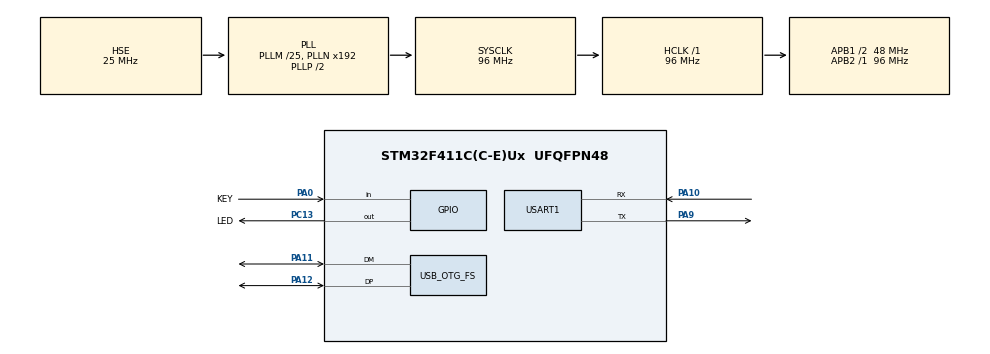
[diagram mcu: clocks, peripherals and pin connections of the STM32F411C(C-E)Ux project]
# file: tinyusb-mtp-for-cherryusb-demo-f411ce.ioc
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Mcu.Family=STM32F4
Mcu.Name=STM32F411C(C-E)Ux
Mcu.Package=UFQFPN48
NVIC.OTG_FS_IRQn=true\:0\:0\:false\:false\:false\:true\:true\:true
NVIC.PriorityGroup=NVIC_PRIORITYGROUP_4
PA0-WKUP.GPIO_Label=KEY
PA0-WKUP.GPIO_PuPd=GPIO_PULLUP
PA0-WKUP.Signal=GPIO_Input
PA10.Mode=Asynchronous
PA10.Signal=USART1_RX
PA11.Mode=Device_Only
PA11.Signal=USB_OTG_FS_DM
PA12.Mode=Device_Only
PA12.Signal=USB_OTG_FS_DP
PA9.Mode=Asynchronous
PA9.Signal=USART1_TX
PC13-ANTI_TAMP.GPIO_Label=LED
PC13-ANTI_TAMP.Signal=GPIO_Output
PH0\ -\ OSC_IN.Mode=HSE-External-Oscillator
PH0\ -\ OSC_IN.Signal=RCC_OSC_IN
PH1\ -\ OSC_OUT.Mode=HSE-External-Oscillator
PH1\ -\ OSC_OUT.Signal=RCC_OSC_OUT
ProjectManager.HeapSize=0x200
ProjectManager.StackSize=0x400
ProjectManager.TargetToolchain=MDK-ARM V5.32
RCC.48MHZClocksFreq_Value=48000000
RCC.AHBFreq_Value=96000000
RCC.APB1CLKDivider=RCC_HCLK_DIV2
RCC.APB1Freq_Value=48000000
RCC.APB1TimFreq_Value=96000000
RCC.APB2Freq_Value=96000000
RCC.APB2TimFreq_Value=96000000
RCC.CortexFreq_Value=96000000
RCC.HCLKFreq_Value=96000000
RCC.HSE_VALUE=25000000
RCC.HSI_VALUE=16000000
RCC.LSE_VALUE=32768
RCC.PLLM=25
RCC.SYSCLKFreq_VALUE=96000000
RCC.SYSCLKSource=RCC_SYSCLKSOURCE_PLLCLK
RCC.VCOOutputFreq_Value=192000000
USART1.VirtualMode=VM_ASYNC
USB_OTG_FS.VirtualMode=Device_Only
board=custom

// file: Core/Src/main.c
/* USER CODE BEGIN Header */
/**
  ******************************************************************************
  * @file           : main.c
  * @brief          : Main program body
  ******************************************************************************
  * @attention
  *
  * Copyright (c) 2026 STMicroelectronics.
  * All rights reserved.
  *
  * This software is licensed under terms that can be found in the LICENSE file
  * in the root directory of this software component.
  * If no LICENSE file comes with this software, it is provided AS-IS.
  *
  ******************************************************************************
  */
/* USER CODE END Header */
#include "main.h"

/* USER CODE BEGIN Includes */
#include "usbd_user.h"

/* USER CODE END Includes */

UART_HandleTypeDef huart1;

PCD_HandleTypeDef hpcd_USB_OTG_FS;

void SystemClock_Config(void);
static void MX_GPIO_Init(void);
static void MX_USB_OTG_FS_PCD_Init(void);
static void MX_USART1_UART_Init(void);

/* USER CODE BEGIN 0 */

// 重定向print start
#if defined (__ARMCC_VERSION) /* ARM Compiler */
int fputc(int ch, FILE *f)
{
  HAL_UART_Transmit(&huart1,(uint8_t*)&ch,1,HAL_MAX_DELAY);
  return ch;
}
#elif defined ( __GNUC__ ) && !defined (__CC_ARM) /* GNU Compiler */
//_write函數在syscalls.c中， 使用__weak定义以可以直接在其他文件中定义_write函數
__attribute__((weak)) int _write(int file, char *ptr, int len)
{
  UNUSED(file);
  int i;
  for (i = 0; i < len; i++)
  {
    HAL_UART_Transmit(&huart1, (uint8_t *)&ptr[i], 1, HAL_MAX_DELAY);
  }
  return len;
}
#endif
// 重定向print end
/* USER CODE END 0 */

int main(void)
{

  /* MCU Configuration--------------------------------------------------------*/

  /* Reset of all peripherals, Initializes the Flash interface and the Systick. */
  HAL_Init();

  /* Configure the system clock */
  SystemClock_Config();

  /* Initialize all configured peripherals */
  MX_GPIO_Init();
  MX_USB_OTG_FS_PCD_Init();
  MX_USART1_UART_Init();
  /* USER CODE BEGIN 2 */
  void usbd_mtp_init(void);
  usbd_mtp_init();
  int usbd_mtp_format_store(void);
  if (HAL_GPIO_ReadPin(KEY_GPIO_Port, KEY_Pin) == GPIO_PIN_RESET)
  {
    usbd_mtp_format_store();
  }

  usb_init(0, (uintptr_t)USB_OTG_FS);
  /* USER CODE END 2 */

  /* Infinite loop */
  /* USER CODE BEGIN WHILE */
  while (1)
  {
    bool state = HAL_GPIO_ReadPin(KEY_GPIO_Port, KEY_Pin) == GPIO_PIN_RESET;
    uint8_t buffer[8] = {0};
    buffer[2] = state ? 0x04 : 0;
    usb_send_keyboard(buffer, sizeof(buffer));
    extern void usbd_mtp_task(void);
    usbd_mtp_task();
    /* USER CODE END WHILE */

  }
}

void SystemClock_Config(void)
{
  RCC_OscInitTypeDef RCC_OscInitStruct = {0};
  RCC_ClkInitTypeDef RCC_ClkInitStruct = {0};

  /** Configure the main internal regulator output voltage
  */
  __HAL_RCC_PWR_CLK_ENABLE();
  __HAL_PWR_VOLTAGESCALING_CONFIG(PWR_REGULATOR_VOLTAGE_SCALE1);

  /** Initializes the RCC Oscillators according to the specified parameters
  * in the RCC_OscInitTypeDef structure.
  */
  RCC_OscInitStruct.OscillatorType = RCC_OSCILLATORTYPE_HSE;
  RCC_OscInitStruct.HSEState = RCC_HSE_ON;
  RCC_OscInitStruct.PLL.PLLState = RCC_PLL_ON;
  RCC_OscInitStruct.PLL.PLLSource = RCC_PLLSOURCE_HSE;
  RCC_OscInitStruct.PLL.PLLM = 25;
  RCC_OscInitStruct.PLL.PLLN = 192;
  RCC_OscInitStruct.PLL.PLLP = RCC_PLLP_DIV2;
  RCC_OscInitStruct.PLL.PLLQ = 4;
  if (HAL_RCC_OscConfig(&RCC_OscInitStruct) != HAL_OK)
  {
    Error_Handler();
  }

  /** Initializes the CPU, AHB and APB buses clocks
  */
  RCC_ClkInitStruct.ClockType = RCC_CLOCKTYPE_HCLK|RCC_CLOCKTYPE_SYSCLK
                              |RCC_CLOCKTYPE_PCLK1|RCC_CLOCKTYPE_PCLK2;
  RCC_ClkInitStruct.SYSCLKSource = RCC_SYSCLKSOURCE_PLLCLK;
  RCC_ClkInitStruct.AHBCLKDivider = RCC_SYSCLK_DIV1;
  RCC_ClkInitStruct.APB1CLKDivider = RCC_HCLK_DIV2;
  RCC_ClkInitStruct.APB2CLKDivider = RCC_HCLK_DIV1;

  if (HAL_RCC_ClockConfig(&RCC_ClkInitStruct, FLASH_LATENCY_3) != HAL_OK)
  {
    Error_Handler();
  }
}

static void MX_USART1_UART_Init(void)
{

  huart1.Instance = USART1;
  huart1.Init.BaudRate = 115200;
  huart1.Init.WordLength = UART_WORDLENGTH_8B;
  huart1.Init.StopBits = UART_STOPBITS_1;
  huart1.Init.Parity = UART_PARITY_NONE;
  huart1.Init.Mode = UART_MODE_TX_RX;
  huart1.Init.HwFlowCtl = UART_HWCONTROL_NONE;
  huart1.Init.OverSampling = UART_OVERSAMPLING_16;
  if (HAL_UART_Init(&huart1) != HAL_OK)
  {
    Error_Handler();
  }

}

static void MX_USB_OTG_FS_PCD_Init(void)
{

  hpcd_USB_OTG_FS.Instance = USB_OTG_FS;
  hpcd_USB_OTG_FS.Init.dev_endpoints = 4;
  hpcd_USB_OTG_FS.Init.speed = PCD_SPEED_FULL;
  hpcd_USB_OTG_FS.Init.dma_enable = DISABLE;
  hpcd_USB_OTG_FS.Init.phy_itface = PCD_PHY_EMBEDDED;
  hpcd_USB_OTG_FS.Init.Sof_enable = DISABLE;
  hpcd_USB_OTG_FS.Init.low_power_enable = DISABLE;
  hpcd_USB_OTG_FS.Init.lpm_enable = DISABLE;
  hpcd_USB_OTG_FS.Init.vbus_sensing_enable = DISABLE;
  hpcd_USB_OTG_FS.Init.use_dedicated_ep1 = DISABLE;
  if (HAL_PCD_Init(&hpcd_USB_OTG_FS) != HAL_OK)
  {
    Error_Handler();
  }

}

static void MX_GPIO_Init(void)
{
  GPIO_InitTypeDef GPIO_InitStruct = {0};

  /* GPIO Ports Clock Enable */
  __HAL_RCC_GPIOC_CLK_ENABLE();
  __HAL_RCC_GPIOH_CLK_ENABLE();
  __HAL_RCC_GPIOA_CLK_ENABLE();

  /*Configure GPIO pin Output Level */
  HAL_GPIO_WritePin(LED_GPIO_Port, LED_Pin, GPIO_PIN_RESET);

  /*Configure GPIO pin : LED_Pin */
  GPIO_InitStruct.Pin = LED_Pin;
  GPIO_InitStruct.Mode = GPIO_MODE_OUTPUT_PP;
  GPIO_InitStruct.Pull = GPIO_NOPULL;
  GPIO_InitStruct.Speed = GPIO_SPEED_FREQ_LOW;
  HAL_GPIO_Init(LED_GPIO_Port, &GPIO_InitStruct);

  /*Configure GPIO pin : KEY_Pin */
  GPIO_InitStruct.Pin = KEY_Pin;
  GPIO_InitStruct.Mode = GPIO_MODE_INPUT;
  GPIO_InitStruct.Pull = GPIO_PULLUP;
  HAL_GPIO_Init(KEY_GPIO_Port, &GPIO_InitStruct);

}

void Error_Handler(void)
{
  __disable_irq();
  while (1)
  {
  }
}
